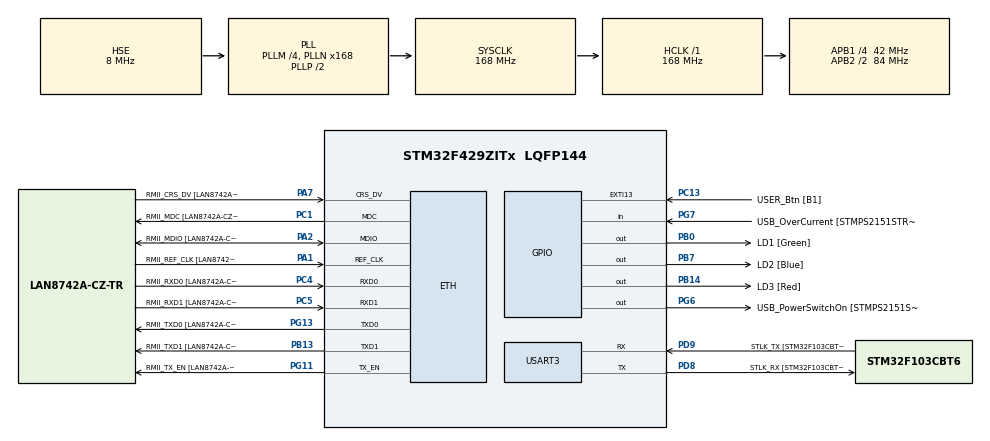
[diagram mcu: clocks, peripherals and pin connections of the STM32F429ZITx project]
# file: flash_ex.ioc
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ETH.MediaInterface=HAL_ETH_RMII_MODE
ETH.PHY_Name=LAN8742A_PHY_ADDRESS
ETH.PHY_Value=0
ETH.PhyAddress=0
Mcu.Family=STM32F4
Mcu.Name=STM32F429ZITx
Mcu.Package=LQFP144
NVIC.PriorityGroup=NVIC_PRIORITYGROUP_4
NVIC.USART3_IRQn=true\:0\:0\:false\:false\:true\:true\:true\:true
PA1.GPIO_Label=RMII_REF_CLK [LAN8742A-CZ-TR_REFCLK0]
PA1.Mode=RMII
PA1.Signal=ETH_REF_CLK
PA10.GPIO_Label=USB_ID
PA10.Signal=USB_OTG_FS_ID
PA11.GPIO_Label=USB_DM
PA11.Signal=USB_OTG_FS_DM
PA12.GPIO_Label=USB_DP
PA12.Signal=USB_OTG_FS_DP
PA13.GPIO_Label=TMS
PA13.Mode=Serial_Wire
PA13.Signal=SYS_JTMS-SWDIO
PA14.GPIO_Label=TCK
PA14.Mode=Serial_Wire
PA14.Signal=SYS_JTCK-SWCLK
PA2.GPIO_Label=RMII_MDIO [LAN8742A-CZ-TR_MDIO]
PA2.Mode=RMII
PA2.Signal=ETH_MDIO
PA7.GPIO_Label=RMII_CRS_DV [LAN8742A-CZ-TR_CRS_DV]
PA7.Mode=RMII
PA7.Signal=ETH_CRS_DV
PA8.GPIO_Label=USB_SOF [TP1]
PA8.Signal=USB_OTG_FS_SOF
PA9.GPIO_Label=USB_VBUS
PA9.Signal=USB_OTG_FS_VBUS
PB0.GPIO_Label=LD1 [Green]
PB0.Signal=GPIO_Output
PB13.GPIO_Label=RMII_TXD1 [LAN8742A-CZ-TR_TXD1]
PB13.Mode=RMII
PB13.Signal=ETH_TXD1
PB14.GPIO_Label=LD3 [Red]
PB14.Signal=GPIO_Output
PB7.GPIO_Label=LD2 [Blue]
PB7.Signal=GPIO_Output
PC1.GPIO_Label=RMII_MDC [LAN8742A-CZ-TR_MDC]
PC1.Mode=RMII
PC1.Signal=ETH_MDC
PC13.GPIO_Label=USER_Btn [B1]
PC13.Signal=GPXTI13
PC14/OSC32_IN.Mode=LSE-External-Oscillator
PC14/OSC32_IN.Signal=RCC_OSC32_IN
PC15/OSC32_OUT.Mode=LSE-External-Oscillator
PC15/OSC32_OUT.Signal=RCC_OSC32_OUT
PC4.GPIO_Label=RMII_RXD0 [LAN8742A-CZ-TR_RXD0]
PC4.Mode=RMII
PC4.Signal=ETH_RXD0
PC5.GPIO_Label=RMII_RXD1 [LAN8742A-CZ-TR_RXD1]
PC5.Mode=RMII
PC5.Signal=ETH_RXD1
PD8.GPIO_Label=STLK_RX [STM32F103CBT6_PA3]
PD8.Mode=Asynchronous
PD8.Signal=USART3_TX
PD9.GPIO_Label=STLK_TX [STM32F103CBT6_PA2]
PD9.Mode=Asynchronous
PD9.Signal=USART3_RX
PG11.GPIO_Label=RMII_TX_EN [LAN8742A-CZ-TR_TXEN]
PG11.Mode=RMII
PG11.Signal=ETH_TX_EN
PG13.GPIO_Label=RMII_TXD0 [LAN8742A-CZ-TR_TXD0]
PG13.Mode=RMII
PG13.Signal=ETH_TXD0
PG6.GPIO_Label=USB_PowerSwitchOn [STMPS2151STR_EN]
PG6.Signal=GPIO_Output
PG7.GPIO_Label=USB_OverCurrent [STMPS2151STR_FAULT]
PG7.Signal=GPIO_Input
PH0/OSC_IN.GPIO_Label=MCO [STM32F103CBT6_PA8]
PH0/OSC_IN.Mode=HSE-External-Clock-Source
PH0/OSC_IN.Signal=RCC_OSC_IN
PH1/OSC_OUT.Mode=HSE-External-Clock-Source
PH1/OSC_OUT.Signal=RCC_OSC_OUT
ProjectManager.HeapSize=0x200
ProjectManager.StackSize=0x400
ProjectManager.TargetToolchain=STM32CubeIDE
RCC.48MHZClocksFreq_Value=48000000
RCC.AHBFreq_Value=168000000
RCC.APB1CLKDivider=RCC_HCLK_DIV4
RCC.APB1Freq_Value=42000000
RCC.APB1TimFreq_Value=84000000
RCC.APB2CLKDivider=RCC_HCLK_DIV2
RCC.APB2Freq_Value=84000000
RCC.APB2TimFreq_Value=168000000
RCC.CortexFreq_Value=168000000
RCC.HCLKFreq_Value=168000000
RCC.HSE_VALUE=8000000
RCC.HSI_VALUE=16000000
RCC.PLLM=4
RCC.PLLMUL=RCC_PLL_MUL9
RCC.PLLN=168
RCC.PLLQ=7
RCC.PLLSourceVirtual=RCC_PLLSOURCE_HSE
RCC.PRESCALERUSB=RCC_USBCLKSOURCE_PLL_DIV1_5
RCC.RCC_RTC_Clock_Source=RCC_RTCCLKSOURCE_LSE
RCC.SYSCLKFreq_VALUE=168000000
RCC.SYSCLKSource=RCC_SYSCLKSOURCE_PLLCLK
RCC.SYSCLKSourceVirtual=RCC_SYSCLKSOURCE_PLLCLK
RCC.USBFreq_Value=48000000
RCC.VCOOutputFreq_Value=336000000
TIM2.Period=900-1
TIM2.Prescaler=1000-1
USART3.VirtualMode=VM_ASYNC
VP_RTC_VS_RTC_Activate.Mode=RTC_Enabled
VP_TIM2_VS_ClockSourceINT.Mode=Internal
board=NUCLEO-F429ZI

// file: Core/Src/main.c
/* USER CODE BEGIN Header */
/**
  ******************************************************************************
  * @file           : main.c
  * @brief          : Main program body
  ******************************************************************************
  * @attention
  *
  * Copyright (c) 2023 STMicroelectronics.
  * All rights reserved.
  *
  * This software is licensed under terms that can be found in the LICENSE file
  * in the root directory of this software component.
  * If no LICENSE file comes with this software, it is provided AS-IS.
  *
  ******************************************************************************
  */
/* USER CODE END Header */
#include "main.h"
#include "string.h"

/* USER CODE BEGIN Includes */

#include "flash.h"
#include "stdio.h"
#define FLASH_USER_START_ADDR   ADDR_FLASH_SECTOR_2   /* Start @ of user Flash area */
#define FLASH_USER_END_ADDR     ADDR_FLASH_SECTOR_3  +  GetSectorSize(ADDR_FLASH_SECTOR_3) - 1 /* End @ of user Flash area : sector start address + sector size -1 */

#define DATA_32                 ((uint32_t)0x99999999)
/* USER CODE END Includes */

ETH_TxPacketConfig TxConfig;
ETH_DMADescTypeDef  DMARxDscrTab[ETH_RX_DESC_CNT]; /* Ethernet Rx DMA Descriptors */
ETH_DMADescTypeDef  DMATxDscrTab[ETH_TX_DESC_CNT]; /* Ethernet Tx DMA Descriptors */

ETH_HandleTypeDef heth;

RTC_HandleTypeDef hrtc;

TIM_HandleTypeDef htim2;

UART_HandleTypeDef huart3;

void SystemClock_Config(void);
static void MX_GPIO_Init(void);
static void MX_ETH_Init(void);
static void MX_USART3_UART_Init(void);
static void MX_RTC_Init(void);
static void MX_TIM2_Init(void);
/* USER CODE BEGIN PFP */
int _write(int file, char *ptr, int len) {
	HAL_UART_Transmit(&huart3, (uint8_t *)ptr, len, 500);
	return len;
}

int __io_putchar(int ch) {
	HAL_UART_Transmit(&huart3, (uint8_t *)&ch, 1, 1000);
	return ch;
}
/* USER CODE END PFP */

/* USER CODE BEGIN 0 */
uint32_t FirstSector = 0, NbOfSectors = 0;
uint32_t Address = 0, SECTORError = 0;
__IO uint32_t data32 = 0 , MemoryProgramStatus = 0;

static FLASH_EraseInitTypeDef EraseInitStruct;

void Error_Handler(void);
static uint32_t GetSector(uint32_t Address);
static uint32_t GetSectorSize(uint32_t Sector);
unsigned char buf[40];
HAL_StatusTypeDef error;

void readFlash(unsigned int addr) {
	unsigned int value = *((unsigned int*)addr);
	sprintf(buf, "addr[%08x] = 0x%08x \r\n", addr, value);
	error = HAL_UART_Transmit(&huart3, buf, sizeof(buf), 0xFFFF);
	if (error != HAL_OK) {
		while(1);
	}
}
/* USER CODE END 0 */

int main(void)
{

  /* MCU Configuration--------------------------------------------------------*/

  /* Reset of all peripherals, Initializes the Flash interface and the Systick. */
  HAL_Init();

  /* Configure the system clock */
  SystemClock_Config();

  /* Initialize all configured peripherals */
  MX_GPIO_Init();
  MX_ETH_Init();
  MX_USART3_UART_Init();
  MX_RTC_Init();
  MX_TIM2_Init();
  /* USER CODE BEGIN 2 */
  HAL_FLASH_Unlock();

  FirstSector = GetSector(FLASH_USER_START_ADDR);
  NbOfSectors = GetSector(FLASH_USER_END_ADDR) - FirstSector + 1;

  EraseInitStruct.TypeErase     = FLASH_TYPEERASE_SECTORS;
  EraseInitStruct.VoltageRange  = FLASH_VOLTAGE_RANGE_3;
  EraseInitStruct.Sector        = FirstSector;
  EraseInitStruct.NbSectors     = NbOfSectors;
  if(HAL_FLASHEx_Erase(&EraseInitStruct, &SECTORError) != HAL_OK)
  {
  /* USER CODE END 2 */

  /* Infinite loop */
  /* USER CODE BEGIN WHILE */
	  while (1)
	  {
		  HAL_GPIO_WritePin(GPIOB, LD3_Pin, 1);
    /* USER CODE END WHILE */

    /* USER CODE BEGIN 3 */
	  }
  }
  Address = FLASH_USER_START_ADDR;

  while(Address < FLASH_USER_END_ADDR)
  {
    if(HAL_FLASH_Program(FLASH_TYPEPROGRAM_WORD, Address, DATA_32) == HAL_OK)
    {
    	readFlash(Address);
      Address = Address + 4;
    }
    else
    {
       /* Error occurred while writing data in Flash memory.
          User can add here some code to deal with this error */
      while (1)
      {
     	 HAL_GPIO_WritePin(GPIOB, LD3_Pin, 1);
      }
    }
  }

   HAL_FLASH_Lock();

   Address = FLASH_USER_START_ADDR;
   MemoryProgramStatus = 0x0;

 while(Address < FLASH_USER_END_ADDR)
 {
   data32 = *(__IO uint32_t *)Address;

   if (data32 != DATA_32)
   {
	 MemoryProgramStatus++;
   }
   Address = Address + 4;
 }
 if(MemoryProgramStatus == 0)
  {
	/* No error detected. Switch on LED1*/
	  HAL_GPIO_WritePin(GPIOB, LD1_Pin, 1);
  }
  else
  {
	/* Error detected. Switch on LED2*/
	  HAL_GPIO_WritePin(GPIOB, LD2_Pin, 1);
  }
  /* USER CODE END 3 */
}

void SystemClock_Config(void)
{
  RCC_OscInitTypeDef RCC_OscInitStruct = {0};
  RCC_ClkInitTypeDef RCC_ClkInitStruct = {0};

  /** Configure the main internal regulator output voltage
  */
  __HAL_RCC_PWR_CLK_ENABLE();
  __HAL_PWR_VOLTAGESCALING_CONFIG(PWR_REGULATOR_VOLTAGE_SCALE1);

  /** Initializes the RCC Oscillators according to the specified parameters
  * in the RCC_OscInitTypeDef structure.
  */
  RCC_OscInitStruct.OscillatorType = RCC_OSCILLATORTYPE_HSE|RCC_OSCILLATORTYPE_LSE;
  RCC_OscInitStruct.HSEState = RCC_HSE_BYPASS;
  RCC_OscInitStruct.LSEState = RCC_LSE_ON;
  RCC_OscInitStruct.PLL.PLLState = RCC_PLL_ON;
  RCC_OscInitStruct.PLL.PLLSource = RCC_PLLSOURCE_HSE;
  RCC_OscInitStruct.PLL.PLLM = 4;
  RCC_OscInitStruct.PLL.PLLN = 168;
  RCC_OscInitStruct.PLL.PLLP = RCC_PLLP_DIV2;
  RCC_OscInitStruct.PLL.PLLQ = 7;
  if (HAL_RCC_OscConfig(&RCC_OscInitStruct) != HAL_OK)
  {
    Error_Handler();
  }

  /** Initializes the CPU, AHB and APB buses clocks
  */
  RCC_ClkInitStruct.ClockType = RCC_CLOCKTYPE_HCLK|RCC_CLOCKTYPE_SYSCLK
                              |RCC_CLOCKTYPE_PCLK1|RCC_CLOCKTYPE_PCLK2;
  RCC_ClkInitStruct.SYSCLKSource = RCC_SYSCLKSOURCE_PLLCLK;
  RCC_ClkInitStruct.AHBCLKDivider = RCC_SYSCLK_DIV1;
  RCC_ClkInitStruct.APB1CLKDivider = RCC_HCLK_DIV4;
  RCC_ClkInitStruct.APB2CLKDivider = RCC_HCLK_DIV2;

  if (HAL_RCC_ClockConfig(&RCC_ClkInitStruct, FLASH_LATENCY_5) != HAL_OK)
  {
    Error_Handler();
  }
}

static void MX_ETH_Init(void)
{

   static uint8_t MACAddr[6];

  heth.Instance = ETH;
  MACAddr[0] = 0x00;
  MACAddr[1] = 0x80;
  MACAddr[2] = 0xE1;
  MACAddr[3] = 0x00;
  MACAddr[4] = 0x00;
  MACAddr[5] = 0x00;
  heth.Init.MACAddr = &MACAddr[0];
  heth.Init.MediaInterface = HAL_ETH_RMII_MODE;
  heth.Init.TxDesc = DMATxDscrTab;
  heth.Init.RxDesc = DMARxDscrTab;
  heth.Init.RxBuffLen = 1524;

  if (HAL_ETH_Init(&heth) != HAL_OK)
  {
    Error_Handler();
  }

  memset(&TxConfig, 0 , sizeof(ETH_TxPacketConfig));
  TxConfig.Attributes = ETH_TX_PACKETS_FEATURES_CSUM | ETH_TX_PACKETS_FEATURES_CRCPAD;
  TxConfig.ChecksumCtrl = ETH_CHECKSUM_IPHDR_PAYLOAD_INSERT_PHDR_CALC;
  TxConfig.CRCPadCtrl = ETH_CRC_PAD_INSERT;

}

static void MX_RTC_Init(void)
{

  /** Initialize RTC Only
  */
  hrtc.Instance = RTC;
  hrtc.Init.HourFormat = RTC_HOURFORMAT_24;
  hrtc.Init.AsynchPrediv = 127;
  hrtc.Init.SynchPrediv = 255;
  hrtc.Init.OutPut = RTC_OUTPUT_DISABLE;
  hrtc.Init.OutPutPolarity = RTC_OUTPUT_POLARITY_HIGH;
  hrtc.Init.OutPutType = RTC_OUTPUT_TYPE_OPENDRAIN;
  if (HAL_RTC_Init(&hrtc) != HAL_OK)
  {
    Error_Handler();
  }

}

static void MX_TIM2_Init(void)
{

  TIM_ClockConfigTypeDef sClockSourceConfig = {0};
  TIM_MasterConfigTypeDef sMasterConfig = {0};

  htim2.Instance = TIM2;
  htim2.Init.Prescaler = 1000-1;
  htim2.Init.CounterMode = TIM_COUNTERMODE_UP;
  htim2.Init.Period = 900-1;
  htim2.Init.ClockDivision = TIM_CLOCKDIVISION_DIV1;
  htim2.Init.AutoReloadPreload = TIM_AUTORELOAD_PRELOAD_DISABLE;
  if (HAL_TIM_Base_Init(&htim2) != HAL_OK)
  {
    Error_Handler();
  }
  sClockSourceConfig.ClockSource = TIM_CLOCKSOURCE_INTERNAL;
  if (HAL_TIM_ConfigClockSource(&htim2, &sClockSourceConfig) != HAL_OK)
  {
    Error_Handler();
  }
  sMasterConfig.MasterOutputTrigger = TIM_TRGO_RESET;
  sMasterConfig.MasterSlaveMode = TIM_MASTERSLAVEMODE_DISABLE;
  if (HAL_TIMEx_MasterConfigSynchronization(&htim2, &sMasterConfig) != HAL_OK)
  {
    Error_Handler();
  }

}

static void MX_USART3_UART_Init(void)
{

  huart3.Instance = USART3;
  huart3.Init.BaudRate = 115200;
  huart3.Init.WordLength = UART_WORDLENGTH_8B;
  huart3.Init.StopBits = UART_STOPBITS_1;
  huart3.Init.Parity = UART_PARITY_NONE;
  huart3.Init.Mode = UART_MODE_TX_RX;
  huart3.Init.HwFlowCtl = UART_HWCONTROL_NONE;
  huart3.Init.OverSampling = UART_OVERSAMPLING_16;
  if (HAL_UART_Init(&huart3) != HAL_OK)
  {
    Error_Handler();
  }

}

static void MX_GPIO_Init(void)
{
  GPIO_InitTypeDef GPIO_InitStruct = {0};

  /* GPIO Ports Clock Enable */
  __HAL_RCC_GPIOC_CLK_ENABLE();
  __HAL_RCC_GPIOH_CLK_ENABLE();
  __HAL_RCC_GPIOA_CLK_ENABLE();
  __HAL_RCC_GPIOB_CLK_ENABLE();
  __HAL_RCC_GPIOD_CLK_ENABLE();
  __HAL_RCC_GPIOG_CLK_ENABLE();

  /*Configure GPIO pin Output Level */
  HAL_GPIO_WritePin(GPIOB, LD1_Pin|LD3_Pin|LD2_Pin, GPIO_PIN_RESET);

  /*Configure GPIO pin Output Level */
  HAL_GPIO_WritePin(USB_PowerSwitchOn_GPIO_Port, USB_PowerSwitchOn_Pin, GPIO_PIN_RESET);

  /*Configure GPIO pin : USER_Btn_Pin */
  GPIO_InitStruct.Pin = USER_Btn_Pin;
  GPIO_InitStruct.Mode = GPIO_MODE_IT_RISING;
  GPIO_InitStruct.Pull = GPIO_NOPULL;
  HAL_GPIO_Init(USER_Btn_GPIO_Port, &GPIO_InitStruct);

  /*Configure GPIO pins : LD1_Pin LD3_Pin LD2_Pin */
  GPIO_InitStruct.Pin = LD1_Pin|LD3_Pin|LD2_Pin;
  GPIO_InitStruct.Mode = GPIO_MODE_OUTPUT_PP;
  GPIO_InitStruct.Pull = GPIO_NOPULL;
  GPIO_InitStruct.Speed = GPIO_SPEED_FREQ_LOW;
  HAL_GPIO_Init(GPIOB, &GPIO_InitStruct);

  /*Configure GPIO pin : USB_PowerSwitchOn_Pin */
  GPIO_InitStruct.Pin = USB_PowerSwitchOn_Pin;
  GPIO_InitStruct.Mode = GPIO_MODE_OUTPUT_PP;
  GPIO_InitStruct.Pull = GPIO_NOPULL;
  GPIO_InitStruct.Speed = GPIO_SPEED_FREQ_LOW;
  HAL_GPIO_Init(USB_PowerSwitchOn_GPIO_Port, &GPIO_InitStruct);

  /*Configure GPIO pin : USB_OverCurrent_Pin */
  GPIO_InitStruct.Pin = USB_OverCurrent_Pin;
  GPIO_InitStruct.Mode = GPIO_MODE_INPUT;
  GPIO_InitStruct.Pull = GPIO_NOPULL;
  HAL_GPIO_Init(USB_OverCurrent_GPIO_Port, &GPIO_InitStruct);

  /*Configure GPIO pins : USB_SOF_Pin USB_ID_Pin USB_DM_Pin USB_DP_Pin */
  GPIO_InitStruct.Pin = USB_SOF_Pin|USB_ID_Pin|USB_DM_Pin|USB_DP_Pin;
  GPIO_InitStruct.Mode = GPIO_MODE_AF_PP;
  GPIO_InitStruct.Pull = GPIO_NOPULL;
  GPIO_InitStruct.Speed = GPIO_SPEED_FREQ_VERY_HIGH;
  GPIO_InitStruct.Alternate = GPIO_AF10_OTG_FS;
  HAL_GPIO_Init(GPIOA, &GPIO_InitStruct);

  /*Configure GPIO pin : USB_VBUS_Pin */
  GPIO_InitStruct.Pin = USB_VBUS_Pin;
  GPIO_InitStruct.Mode = GPIO_MODE_INPUT;
  GPIO_InitStruct.Pull = GPIO_NOPULL;
  HAL_GPIO_Init(USB_VBUS_GPIO_Port, &GPIO_InitStruct);

}

/* USER CODE BEGIN 4 */
static uint32_t GetSector(uint32_t Address) {
	uint32_t sector = 0;
	if ((Address < ADDR_FLASH_SECTOR_1) && (Address >= ADDR_FLASH_SECTOR_0)) {
		sector = FLASH_SECTOR_0;
	} else if ((Address < ADDR_FLASH_SECTOR_2)
			&& (Address >= ADDR_FLASH_SECTOR_1)) {
		sector = FLASH_SECTOR_1;
	} else if ((Address < ADDR_FLASH_SECTOR_3)
			&& (Address >= ADDR_FLASH_SECTOR_2)) {
		sector = FLASH_SECTOR_2;
	} else if ((Address < ADDR_FLASH_SECTOR_4)
			&& (Address >= ADDR_FLASH_SECTOR_3)) {
		sector = FLASH_SECTOR_3;
	} else if ((Address < ADDR_FLASH_SECTOR_5)
			&& (Address >= ADDR_FLASH_SECTOR_4)) {
		sector = FLASH_SECTOR_4;
	} else if ((Address < ADDR_FLASH_SECTOR_6)
			&& (Address >= ADDR_FLASH_SECTOR_5)) {
		sector = FLASH_SECTOR_5;
	} else if ((Address < ADDR_FLASH_SECTOR_7)
			&& (Address >= ADDR_FLASH_SECTOR_6)) {
		sector = FLASH_SECTOR_6;
	} else if ((Address < ADDR_FLASH_SECTOR_8)
			&& (Address >= ADDR_FLASH_SECTOR_7)) {
		sector = FLASH_SECTOR_7;
	} else if ((Address < ADDR_FLASH_SECTOR_9)
			&& (Address >= ADDR_FLASH_SECTOR_8)) {
		sector = FLASH_SECTOR_8;
	} else if ((Address < ADDR_FLASH_SECTOR_10)
			&& (Address >= ADDR_FLASH_SECTOR_9)) {
		sector = FLASH_SECTOR_9;
	} else if ((Address < ADDR_FLASH_SECTOR_11)
			&& (Address >= ADDR_FLASH_SECTOR_10)) {
		sector = FLASH_SECTOR_10;
	} else if ((Address < ADDR_FLASH_SECTOR_12)
			&& (Address >= ADDR_FLASH_SECTOR_11)) {
		sector = FLASH_SECTOR_11;
	} else if ((Address < ADDR_FLASH_SECTOR_13)
			&& (Address >= ADDR_FLASH_SECTOR_12)) {
		sector = FLASH_SECTOR_12;
	} else if ((Address < ADDR_FLASH_SECTOR_14)
			&& (Address >= ADDR_FLASH_SECTOR_13)) {
		sector = FLASH_SECTOR_13;
	} else if ((Address < ADDR_FLASH_SECTOR_15)
			&& (Address >= ADDR_FLASH_SECTOR_14)) {
		sector = FLASH_SECTOR_14;
	} else if ((Address < ADDR_FLASH_SECTOR_16)
			&& (Address >= ADDR_FLASH_SECTOR_15)) {
		sector = FLASH_SECTOR_15;
	} else if ((Address < ADDR_FLASH_SECTOR_17)
			&& (Address >= ADDR_FLASH_SECTOR_16)) {
		sector = FLASH_SECTOR_16;
	} else if ((Address < ADDR_FLASH_SECTOR_18)
			&& (Address >= ADDR_FLASH_SECTOR_17)) {
		sector = FLASH_SECTOR_17;
	} else if ((Address < ADDR_FLASH_SECTOR_19)
			&& (Address >= ADDR_FLASH_SECTOR_18)) {
		sector = FLASH_SECTOR_18;
	} else if ((Address < ADDR_FLASH_SECTOR_20)
			&& (Address >= ADDR_FLASH_SECTOR_19)) {
		sector = FLASH_SECTOR_19;
	} else if ((Address < ADDR_FLASH_SECTOR_21)
			&& (Address >= ADDR_FLASH_SECTOR_20)) {
		sector = FLASH_SECTOR_20;
	} else if ((Address < ADDR_FLASH_SECTOR_22)
			&& (Address >= ADDR_FLASH_SECTOR_21)) {
		sector = FLASH_SECTOR_21;
	} else if ((Address < ADDR_FLASH_SECTOR_23)
			&& (Address >= ADDR_FLASH_SECTOR_22)) {
		sector = FLASH_SECTOR_22;
	} else /* (Address < FLASH_END_ADDR) && (Address >= ADDR_FLASH_SECTOR_23) */
	{
		sector = FLASH_SECTOR_23;
	}
	return sector;
}

/**
  * @brief  Gets sector Size
  * @param  None
  * @retval The size of a given sector
  */
static uint32_t GetSectorSize(uint32_t Sector)
{
  uint32_t sectorsize = 0x00;
  if((Sector == FLASH_SECTOR_0) || (Sector == FLASH_SECTOR_1) || (Sector == FLASH_SECTOR_2) ||\
     (Sector == FLASH_SECTOR_3) || (Sector == FLASH_SECTOR_12) || (Sector == FLASH_SECTOR_13) ||\
     (Sector == FLASH_SECTOR_14) || (Sector == FLASH_SECTOR_15))
  {
    sectorsize = 16 * 1024;
  }
  else if((Sector == FLASH_SECTOR_4) || (Sector == FLASH_SECTOR_16))
  {
    sectorsize = 64 * 1024;
  }
  else
  {
    sectorsize = 128 * 1024;
  }
  return sectorsize;
}
/* USER CODE END 4 */

void Error_Handler(void)
{
  /* USER CODE BEGIN Error_Handler_Debug */
  /* User can add his own implementation to report the HAL error return state */
	HAL_GPIO_WritePin(GPIOB, LD3_Pin, 1);
  __disable_irq();
  while (1)
  {
  }
  /* USER CODE END Error_Handler_Debug */
}
